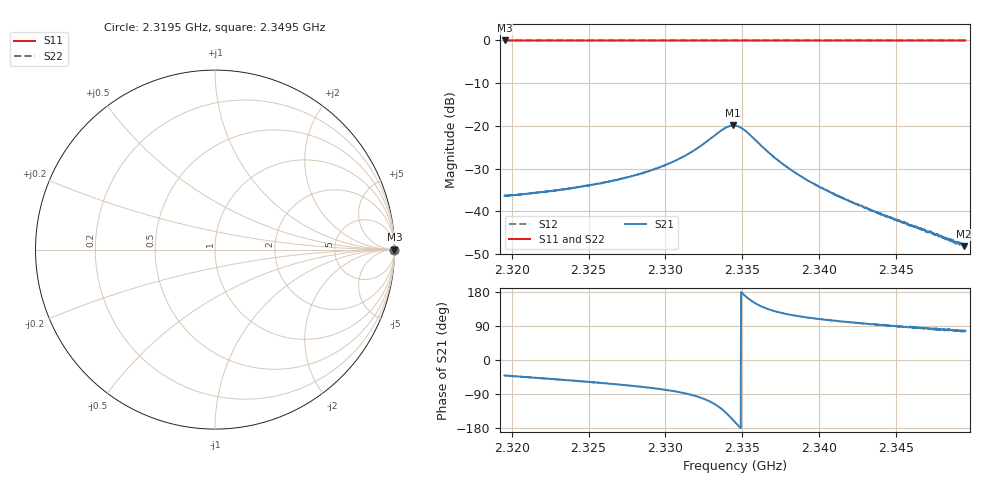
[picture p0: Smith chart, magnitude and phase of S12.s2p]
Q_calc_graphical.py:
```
import matplotlib.pylab as plt
import numpy as np

#initialization stuff
file = "../data/S12.s2p"
data = np.genfromtxt(file,skip_header=12)

freq = data[:,0]
voltage = data[:,3]

#data processing stuff
max_power = np.max(voltage)
max_power_index = np.argmax(voltage)

max_freq = freq[max_power_index]

three_dB = max_power - 3.0
vals_BELOW = np.where(voltage > three_dB)
vals_ABOVE = np.where((voltage < three_dB) & (freq > max_freq))

three_dB_freq_BELOW = freq[vals_BELOW[0][0]]
three_dB_freq_ABOVE = freq[vals_ABOVE[0][0]]
delta_freq = three_dB_freq_ABOVE - three_dB_freq_BELOW

Q_L = max_freq / delta_freq
print(Q_L)


#plotting stuff
plt.xlabel(r'Frequency (GHz)')
plt.ylabel(r'Power (dBm/Hz)')
plt.annotate(r' $ f_{L} $ ',xy=(freq[max_power_index], max_power), xytext=(freq[max_power_index], max_power))
plt.axhline(y= three_dB,ls='dashed')
#plt.axvline(x= three_dB_freq_BELOW,ls='dashed')
#plt.axvline(x= three_dB_freq_ABOVE,ls='dashed')
plt.annotate("",
            xy=(three_dB_freq_BELOW, three_dB), xycoords='data',
            xytext=(three_dB_freq_ABOVE, three_dB), textcoords='data',
            arrowprops=dict(arrowstyle="<->",
                            connectionstyle="arc3"),)
#plt.annotate(
#            r'$ \Delta $ ', xy=(max_freq-20, three_dB-20), xycoords='data',
#            xytext=(three_dB_freq_BELOW, three_dB - .1), textcoords='offset points')

plt.text(three_dB_freq_BELOW, three_dB - 2, r'$ \Delta f $')
plt.text(three_dB_freq_ABOVE + 2e6, three_dB - 5, r'$ Q = 841.225225225 $')

plt.plot(freq,voltage)
plt.show()
```
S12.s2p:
!Agilent N9918A: A.07.57
!Date: Wednesday, 21 January 2015 17:31:14
!Timezone: (GMT+08:00) Kuala Lumpur, Singapore
!Model: N9918A
!Serial: MY53103598
!GPS Latitude:
!GPS Longitude:
!GPS TimeStamp: 0001-01-01 00:00:00Z
!GPS Seconds Since Last Read: 0
!CHECKSUM:0189970501
!Correction: S11()S21(Rdy)S12()S22()
!S2P File: Measurements:S11,S21,S12,S22:
# Hz S DB R 50
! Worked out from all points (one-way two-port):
!   1601 points, 2.3195 GHz to 2.3495 GHz, reference 50 ohm
!   highest |S21| = -19.90 dB at 2.3344 GHz (marker M1); lowest = -48.2 dB at 2.3495 GHz (marker M2)
!   lowest |S11| = 0.0 dB at 2.3195 GHz (marker M3)
!   |S11| at or under -10 dB: nowhere
!   |S22| runs from 0.0 to 0.0 dB; largest |S21 - S12| = 1.1
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2.319531e9  0.00 0.0  -36.35 -40.7  0.00 0.0  0.00 0.0
2.324012e9  0.00 0.0  -34.58 -54.6  0.00 0.0  0.00 0.0
2.328381e9  0.00 0.0  -31.23 -70.7  0.00 0.0  0.00 0.0
2.331156e9  0.00 0.0  -27.24 -87.1  0.00 0.0  0.00 0.0
2.3344e9  0.00 0.0  -19.90 -158.2  0.00 0.0  0.00 0.0
2.334531e9  0.00 0.0  -19.95 -163.9  0.00 0.0  0.00 0.0
2.335919e9  0.00 0.0  -23.52 148.1  0.00 0.0  0.00 0.0
2.337775e9  0.00 0.0  -29.26 122.0  0.00 0.0  0.00 0.0
2.340044e9  0.00 0.0  -34.31 108.1  0.00 0.0  0.00 0.0
2.349456e9  0.00 0.0  -48.18 76.2  0.00 0.0  0.00 0.0
2.349531e9  0.00 0.0  -48.12 77.5  0.00 0.0  0.00 0.0
